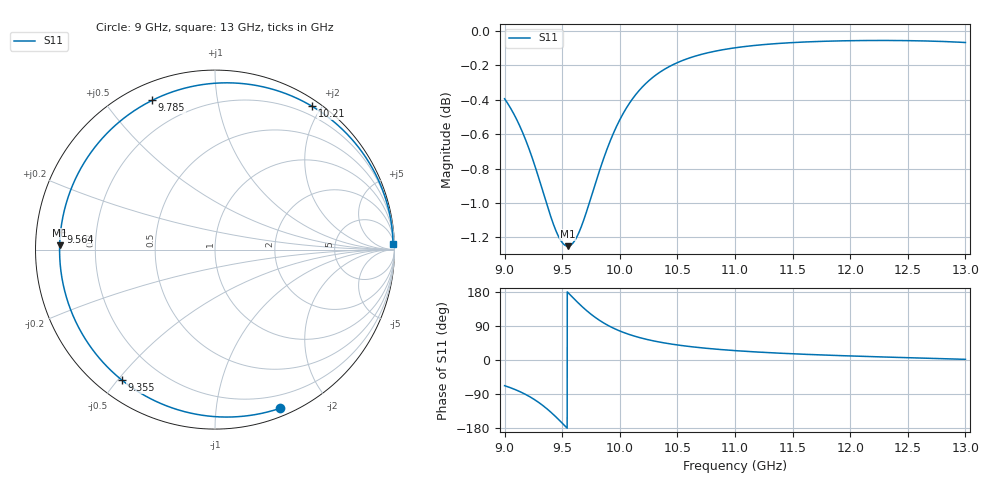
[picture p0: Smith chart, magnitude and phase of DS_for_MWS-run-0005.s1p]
! TOUCHSTONE file generated by CST DESIGN STUDIO
! Date and time: Wed Feb  5 13:43:19 2025
! Project name: C:\Work\MatlabApps\UnitCellOptimizationMatlab\CST\unitcell.cst
! Tree item: Tasks\Sweep1\SPara1\S-Parameters
! Header version: 2024
! Port assignment regex: !\s*Touchstone port\s*([0-9]+)\s*=\s*(CST MWS port|CST DES external port|CST DES block port)\s*(.+)\s* \(\"(.*)\"\)(\s*mode\s*([0-9]+))?.*
! Touchstone port assignment:
! Touchstone port 1 = CST DES external port 1 ("")
# GHz S MA R 50
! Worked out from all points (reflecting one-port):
!   4001 points, 9 GHz to 13 GHz, reference 50 ohm
!   lowest |S11| = -1.3 dB at 9.548 GHz (marker M1), VSWR 13.92, Z = 3.59 + j0.657 ohm
!   phase of S11 starts at -68 deg and turns -290 deg over the sweep
!   S11 on the Smith chart (normalised r, x): 9 GHz: 0.07, -1.49; 9.355 GHz: 0.07, -0.51; 9.564 GHz: 0.07, +0.06; 9.785 GHz: 0.07, +0.66; 10.21 GHz: 0.08, +1.88; 13 GHz: 16, +62
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9  0.9555 -67.8
9.036  0.9514 -71.5
9.1  0.943 -79.1
9.21  0.9245 -95.5
9.286  0.9086 -109.9
9.355  0.8931 -125.7
9.424  0.8787 -144.0
9.464  0.8721 -155.6
9.5  0.868 -166.5
9.548  0.8659 178.5
9.564  0.8662 173.5
9.619  0.8703 156.5
9.68  0.8799 138.9
9.732  0.8906 125.2
9.785  0.9023 112.8
9.831  0.9122 103.2
9.88  0.9222 94.2
10  0.9422 76.6
10.101  0.9545 65.4
10.213  0.9643 55.9
10.345  0.9724 47.3
10.5  0.9788 39.7
10.721  0.9845 31.8
11  0.9885 24.8
11.5  0.992 16.4
12  0.9933 10.7
12.5  0.9933 6.1
13  0.992 1.7
